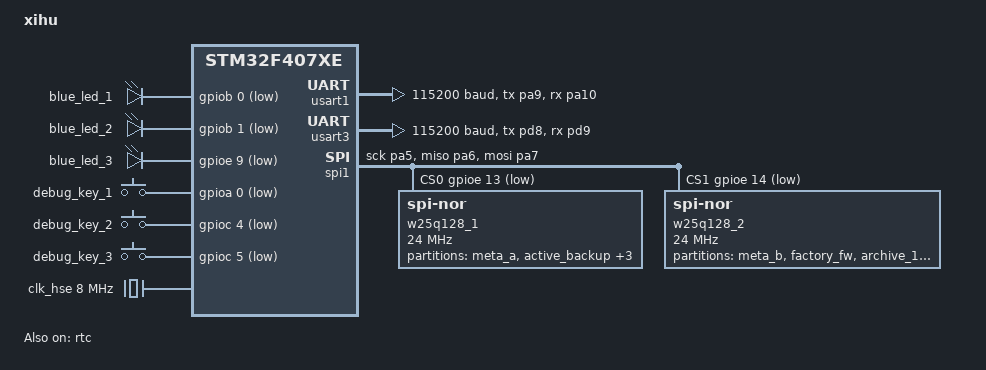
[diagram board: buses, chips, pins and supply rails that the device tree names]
/*
 * Copyright (c) 2017 Linaro Limited
 * Copyright (c) 2024 STMicroelectronics
 *
 * SPDX-License-Identifier: Apache-2.0
 */

/dts-v1/;
#include <st/f4/stm32f407Xe.dtsi>
#include <st/f4/stm32f407v(e-g)tx-pinctrl.dtsi>
#include <zephyr/dt-bindings/pwm/pwm.h>

/ {
    model = "xihu";
    compatible = "st,xihu";

    chosen {
        zephyr,console = &usart1;
        zephyr,sram = &sram0;
        zephyr,flash = &flash0;
        zephyr,ccm = &ccm0;
    };

    users_led:leds {
    	compatible = "gpio-leds";

    	blue_led_1: led_1 {
    		gpios = <&gpiob 0 GPIO_ACTIVE_LOW>;
    		label = "blue_led_1";
    	};

    	blue_led_2: led_2 {
    		gpios = <&gpiob 1 GPIO_ACTIVE_LOW>;
    		label = "blue_led_2";
    	};

    	blue_led_3: led_3 {
    		gpios = <&gpioe 9 GPIO_ACTIVE_LOW>;
    		label = "blue_led_3";
    	};
    };

    // users_led:leds {
    //     compatible = "pwm-leds";

    //     blue_led_1: led_1 {
    //         pwms = <&pwm3 3 PWM_MSEC(10) PWM_POLARITY_INVERTED>;
    //         label = "blue_led_1";
    //     };

    //     blue_led_2: led_2 {
    //         pwms = <&pwm3 4 PWM_MSEC(10) PWM_POLARITY_INVERTED>;
    //         label = "blue_led_2";
    //     };

    //     blue_led_3: led_3 {
    //         pwms = <&pwm1 1 PWM_MSEC(10) PWM_POLARITY_INVERTED>;
    //         label = "blue_led_3";
    //     };
    // };

    users_key: keys {
        compatible = "gpio-keys";

        debug_key_1: key_1 {
            gpios = <&gpioa 0 GPIO_ACTIVE_LOW>;
            label = "debug_key_1";
        };
        debug_key_2: key_2 {
            gpios = <&gpioc 4 GPIO_ACTIVE_LOW>;
            label = "debug_key_2";
        };
        debug_key_3: key_3 {
            gpios = <&gpioc 5 GPIO_ACTIVE_LOW>;
            label = "debug_key_3";
        };
    };

    aliases {
        led0 = &blue_led_1;
        key0 = &debug_key_1;
        key1 = &debug_key_2;
        key2 = &debug_key_3;
        norflash1 = &w25q128_1;
        norflash2 = &w25q128_2;
    };
};

&clk_lse {
    status = "okay";
};

&clk_hse {
    clock-frequency = <DT_FREQ_M(8)>;
    status = "okay";
};

&pll {
    div-m = <4>;
    mul-n = <168>;
    div-p = <2>;
    div-q = <4>;
    clocks = <&clk_hse>;
    status = "okay";
};

&rcc {
    clocks = <&pll>;
    clock-frequency = <DT_FREQ_M(168)>;
    ahb-prescaler = <1>;
    apb1-prescaler = <4>;
    apb2-prescaler = <2>;
};

&rtc {
    clocks = <&rcc STM32_CLOCK(APB1, 28)>,
              <&rcc STM32_SRC_LSI RTC_SEL(2)>;
    status = "okay";
};

&usart1 {
    pinctrl-0 = <&usart1_tx_pa9 &usart1_rx_pa10>;
    pinctrl-names = "default";
    current-speed = <115200>;
    status = "okay";
};

// &usart2 {
//     pinctrl-0 = <&usart2_tx_pa2 &usart2_rx_pa3>;
//     pinctrl-names = "default";
//     current-speed = <115200>;
//     status = "okay";
// };

&usart3 {
    pinctrl-0 = <&usart3_tx_pd8 &usart3_rx_pd9>;
    pinctrl-names = "default";
    current-speed = <115200>;
    status = "okay";
};

&spi1 {
	pinctrl-0 = <&spi1_sck_pa5 &spi1_miso_pa6 &spi1_mosi_pa7>;
	pinctrl-names = "default";
	cs-gpios = <&gpioe 13 GPIO_ACTIVE_LOW>, <&gpioe 14 GPIO_ACTIVE_LOW>;
	status = "okay";

    w25q128_1: w25q128@0 {
        compatible = "jedec,spi-nor";
        reg = <0>;
        spi-max-frequency = <24000000>;
        jedec-id = [ef 40 18];
        size = <0x8000000>; /* 16MB */

        partitions {
            compatible = "fixed-partitions";
            #address-cells = <1>;
            #size-cells = <1>;

            /* 元数据区 A (64KB) 存放失败次数-断点偏移量 */
            meta_partition_a: partition@0 {
                label = "meta_a";
                reg = <0x00000000 0x00010000>;
            };

            /* 正在运行的固件的Flash备份 1MB */
            active_backup_partition: partition@10000 {
                label = "active_backup";
                reg = <0x00010000 0x00100000>;
            };

            /* 当前接收新固件的下载暂存区 2MB 用于断点续传 */
            download_partition: partition@110000 {
                label = "download_slot";
                reg = <0x00110000 0x00200000>;
            };

            /* 存放依据差分固件包与旧固件还原成的新固件存放区 */
            diff_fw_partition: partition@310000 {
                label = "diff_firmware_slot";
                reg = <0x00310000 0x00200000>;
            };

            /* 剩余空间内 后期扩展Fatfs*/
            fatfs_partition: partition@510000 {
                label = "fatfs";
                reg = <0x00510000 0x00A32400>;
            };
        };
    };

    w25q128_2: w25q128@1 {
        compatible = "jedec,spi-nor";
        reg = <1>;
        spi-max-frequency = <24000000>;
        jedec-id = [ef 40 18];
        size = <0x8000000>;

        partitions {
            compatible = "fixed-partitions";
            #address-cells = <1>;
            #size-cells = <1>;
            
            /* 元数据区 b 64KB */
            meta_partition_b: partition@0 {
                label = "meta_b";
                reg = <0x00000000 0x00010000>;
            };

            /* 出厂固件 绝对无误 */
            factory_fw: partition@10000 {
                label = "factory_fw";
                reg = <0x00010000 0x00100000>;
            };

            archive_1: partition@110000 {
                label = "archive_1";
                reg = <0x00110000 0x00100000>;
            };

            archive_2: partition@210000 {
                label = "archive_2";
                reg = <0x00210000 0x00100000>;
            };

            archive_3: partition@310000 {
                label = "archive_3";
                reg = <0x00310000 0x00100000>;
            };

            archive_4: partition@410000 {
                label = "archive_4";
                reg = <0x00410000 0x00100000>;
            };

            archive_5: partition@510000 {
                label = "archive_5";
                reg = <0x00510000 0x00100000>;
            };

            archive_6: partition@610000 {
                label = "archive_6";
                reg = <0x00610000 0x00100000>;
            };

            archive_7: partition@710000 {
                label = "archive_7";
                reg = <0x00710000 0x00100000>;
            };

            archive_8: partition@810000 {
                label = "archive_8";
                reg = <0x00810000 0x00100000>;
            };

            archive_9: partition@910000 {
                label = "archive_9";
                reg = <0x00910000 0x00100000>;
            };

            archive_10: partition@a10000 {
                label = "archive_10";
                reg = <0x00a10000 0x00100000>;
            };

            archive_repo: partition@b10000 {
                label = "archive_repo";
                reg = <0x00b10000 0x004F0000>;
            };
        };
    };
};

&flash0 {
    partitions {
        compatible = "fixed-partitions";
        #address-cells = <1>;
        #size-cells = <1>;

        bootloader: partition@0 {
            label = "bootloader";
            reg = <0x00000000 DT_SIZE_K(48)>;    // 偏移 0x0, 大小 60KB
        };

        arg_info: partition@C000 {
            label = "arg_info";
            reg = <0x0000c000 DT_SIZE_K(16)>;     // 偏移 0xF000, 大小 4KB
        };

        application: partition@10000 {
            label = "application";
            reg = <0x00010000 DT_SIZE_K(448)>;   // 偏移 0x10000, 大小 448KB
        };
    };
};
